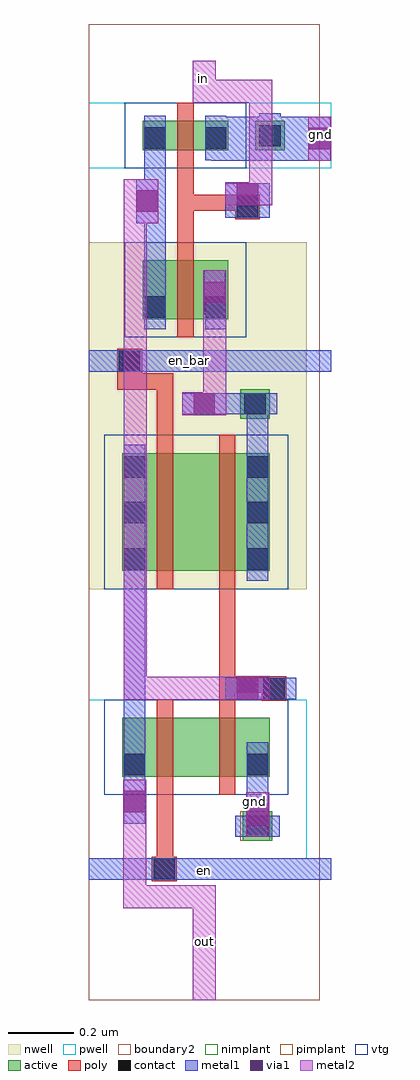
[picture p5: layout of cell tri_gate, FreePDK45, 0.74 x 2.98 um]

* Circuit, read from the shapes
.subckt tri_gate en en_bar gnd in out vdd
M1 n1 en out gnd nfet w=0.18u l=0.05u
M2 gnd in n2 gnd nfet w=0.09u l=0.05u
M3 gnd n2 n1 gnd nfet w=0.18u l=0.049u
M4 n3 en_bar out vdd pfet w=0.359u l=0.05u
M5 vdd in n2 vdd pfet w=0.18u l=0.05u
M6 vdd n2 n3 vdd pfet w=0.359u l=0.049u
.ends

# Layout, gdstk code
import gdstk
lib = gdstk.Library(unit=1e-6, precision=1e-09)
def R(c, l, rs):  # rectangles x0, y0, x1, y1
    for r in rs: c.add(gdstk.rectangle(r[:2], r[2:], *l))
active = (1, 0)
pwell = (2, 0)
nwell = (3, 0)
nimplant = (4, 0)
pimplant = (5, 0)
vtg = (6, 0)
poly = (9, 0)
contact = (10, 0)
metal1 = (11, 0)
via1 = (12, 0)
metal2 = (13, 0)
boundary2 = (239, 0)

tri_gate = lib.new_cell('tri_gate')
R(tri_gate, active, [(0.47,0.485,0.56,0.575), (0.103,0.68,0.177,0.86), (0.103,0.68,0.177,0.86), (0.103,0.68,0.552,0.86), (0.103,0.68,0.177,0.755), (0.255,0.68,0.395,0.86), (0.478,0.68,0.552,0.86), (0.478,0.68,0.552,0.86), (0.478,0.68,0.552,0.755), (0.103,1.308,0.177,1.667), (0.103,1.308,0.177,1.667), (0.103,1.308,0.552,1.667), (0.103,1.308,0.177,1.663), (0.255,1.308,0.395,1.667), (0.478,1.308,0.552,1.667), (0.478,1.308,0.552,1.667), (0.478,1.308,0.552,1.663), (0.462,1.772,0.552,1.862), (0.165,2.075,0.24,2.15), (0.165,2.075,0.24,2.255), (0.165,2.075,0.24,2.255), (0.165,2.075,0.425,2.255), (0.35,2.075,0.425,2.15), (0.35,2.075,0.425,2.255), (0.35,2.075,0.425,2.255), (0.165,2.59,0.24,2.68), (0.165,2.59,0.24,2.68), (0.165,2.59,0.425,2.68), (0.165,2.59,0.24,2.665), (0.35,2.59,0.425,2.68), (0.35,2.59,0.425,2.68), (0.35,2.59,0.425,2.665), (0.508,2.59,0.598,2.68)])
R(tri_gate, pwell, [(0,0.43,0.665,0.915), (0.408,0.43,0.608,0.63), (0.047,0.625,0.608,0.915), (0,2.535,0.74,2.735), (0.11,2.535,0.48,2.735), (0.452,2.535,0.652,2.735)])
R(tri_gate, nwell, [(0,1.252,0.665,2.31), (0.047,1.252,0.608,1.723), (0.408,1.717,0.608,1.917), (0.11,2.02,0.48,2.31)])
R(tri_gate, nimplant, [(0.103,0.68,0.552,0.86), (0.462,1.772,0.552,1.862), (0.165,2.59,0.425,2.68)])
R(tri_gate, pimplant, [(0.462,0.485,0.552,0.575), (0.103,1.308,0.552,1.667), (0.165,2.075,0.425,2.255), (0.508,2.59,0.598,2.68)])
R(tri_gate, vtg, [(0.047,0.625,0.608,0.915), (0.047,1.252,0.608,1.723), (0.11,2.02,0.48,2.31), (0.11,2.535,0.48,2.735)])
R(tri_gate, poly, [(0.192,0.362,0.268,0.437), (0.208,0.437,0.258,0.625), (0.208,0.625,0.258,0.915), (0.208,0.625,0.258,0.68), (0.398,0.625,0.447,0.915), (0.398,0.625,0.447,0.68), (0.208,0.86,0.258,0.915), (0.398,0.86,0.447,0.915), (0.527,0.912,0.603,0.987), (0.398,0.915,0.447,1.252), (0.447,0.937,0.527,0.987), (0.208,1.252,0.258,1.723), (0.208,1.252,0.258,1.308), (0.398,1.252,0.447,1.723), (0.398,1.252,0.447,1.308), (0.208,1.667,0.258,1.723), (0.398,1.667,0.447,1.723), (0.208,1.723,0.258,1.91), (0.088,1.86,0.208,1.91), (0.088,1.91,0.163,1.985), (0.27,2.02,0.32,2.31), (0.27,2.02,0.32,2.075), (0.27,2.255,0.32,2.31), (0.27,2.31,0.32,2.535), (0.447,2.38,0.522,2.455), (0.32,2.405,0.522,2.455), (0.27,2.535,0.32,2.59), (0.27,2.535,0.32,2.735), (0.27,2.68,0.32,2.735)])
R(tri_gate, contact, [(0.198,0.367,0.263,0.432), (0.482,0.497,0.547,0.562), (0.107,0.685,0.173,0.75), (0.482,0.685,0.547,0.75), (0.532,0.917,0.598,0.982), (0.107,1.312,0.173,1.377), (0.482,1.312,0.547,1.377), (0.107,1.453,0.173,1.518), (0.482,1.453,0.547,1.518), (0.107,1.592,0.173,1.657), (0.482,1.592,0.547,1.657), (0.475,1.785,0.54,1.85), (0.092,1.915,0.157,1.98), (0.17,2.08,0.235,2.145), (0.355,2.08,0.42,2.145), (0.452,2.385,0.517,2.45), (0.17,2.595,0.235,2.66), (0.355,2.595,0.42,2.66), (0.52,2.602,0.585,2.667)])
R(tri_gate, metal1, [(0,0.367,0.74,0.432), (0.447,0.497,0.583,0.562), (0.482,0.497,0.547,0.785), (0.107,0.537,0.173,0.672), (0.107,0.65,0.173,0.785), (0.107,0.763,0.173,1.278), (0.417,0.917,0.552,0.982), (0.497,0.917,0.633,0.982), (0.107,1.278,0.173,1.693), (0.482,1.278,0.547,1.693), (0.482,1.693,0.547,1.785), (0.285,1.785,0.42,1.85), (0.285,1.785,0.575,1.85), (0.44,1.785,0.552,1.85), (0,1.915,0.74,1.98), (0.057,1.915,0.192,1.98), (0.278,1.915,0.34,1.98), (0.17,2.045,0.235,2.18), (0.355,2.045,0.42,2.18), (0.352,2.09,0.417,2.225), (0.17,2.175,0.235,2.695), (0.145,2.368,0.21,2.502), (0.417,2.385,0.552,2.45), (0.417,2.425,0.552,2.49), (0.375,2.558,0.672,2.692), (0.672,2.558,0.738,2.692), (0.17,2.56,0.235,2.695), (0.355,2.56,0.42,2.695), (0.52,2.567,0.585,2.703)])
R(tri_gate, via1, [(0.482,0.532,0.547,0.598), (0.107,0.573,0.173,0.638), (0.452,0.917,0.517,0.982), (0.32,1.785,0.385,1.85), (0.352,2.125,0.417,2.19), (0.145,2.402,0.21,2.468), (0.452,2.425,0.517,2.49), (0.672,2.593,0.738,2.658)])
R(tri_gate, metal2, [(0.317,0,0.387,0.35), (0.105,0.28,0.175,0.65), (0.105,0.28,0.317,0.35), (0.48,0.497,0.55,0.633), (0.105,0.537,0.175,0.672), (0.107,0.915,0.177,2.502), (0.177,0.915,0.417,0.985), (0.417,0.915,0.552,0.985), (0.285,1.782,0.42,1.852), (0.35,1.852,0.42,2.09), (0.35,2.09,0.42,2.225), (0.143,2.368,0.212,2.502), (0.417,2.422,0.552,2.493), (0.49,2.422,0.56,2.805), (0.67,2.558,0.74,2.692), (0.317,2.735,0.387,2.863), (0.387,2.735,0.49,2.805)])
R(tri_gate, boundary2, [(0,0,0.705,2.975)])
tri_gate.add(gdstk.Label('en', (0.352,0.395), layer=11, texttype=0))
tri_gate.add(gdstk.Label('en_bar', (0.307,1.95), layer=11, texttype=0))
tri_gate.add(gdstk.Label('vdd', (0.395,1.943), layer=13, texttype=0))
tri_gate.add(gdstk.Label('gnd', (0.505,0.605), layer=13, texttype=0))
tri_gate.add(gdstk.Label('in', (0.35,2.808), layer=13, texttype=0))
tri_gate.add(gdstk.Label('out', (0.352,0.177), layer=13, texttype=0))
tri_gate.add(gdstk.Label('gnd', (0.707,2.638), layer=13, texttype=0))

lib.write_gds('tri_gate.gds')
